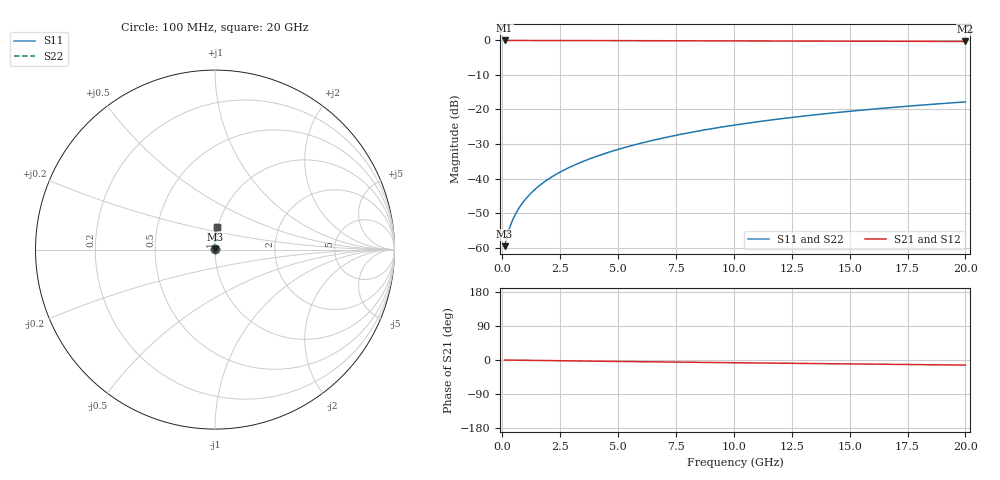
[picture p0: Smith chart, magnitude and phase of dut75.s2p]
! Touchstone file exported from HFSS 2024.1.0
!  File:  C:/UserFiles/LocalFiles/RDL_TSV_Batchsim/temp_RDL_top_75_1778682254.aedt
!  Generated:  10:26:23 PM May 13, 2026
!  Design:  RDL_top
!  Project:  temp_RDL_top_75_1778682254
!  Setup:  Setup1
!  Solution:  Sweep
! Variables:
!  dtsv = 10.80580581um
!  hbump = 3um
!  htsv = 98.44um
!  ldown = 100um
!  lrdl = 173.67um
!  p = 40
!  p1 = 49.82um
!  rhole = 1um
!  t = 450um
!  tdown = 3.915915916um
!  trdl = 3.47um
!  wdown = 15.38538539um
!  wrdl = 28.47um
# GHz S MA R 50.000000
! Terminal data exported
! Port[1] = Box2_T1
! Port[2] = Box2_T2
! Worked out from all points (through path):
!   200 points, 100 MHz to 20 GHz, reference 50 ohm
!   highest |S21| = -0.01 dB at 100 MHz (marker M1); lowest = -0.3 dB at 20 GHz (marker M2)
!   group delay of S21, straight-line fit = 1.83 ps
!   lowest |S11| = -59.6 dB at 100 MHz (marker M3), VSWR 1.00, Z = 50.1 + j0.0566 ohm
!   |S11| at or under -10 dB: start of sweep to end of sweep
!   |S22| runs from -59.6 to -17.8 dB; largest |S21 - S12| = 3e-15
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0.1  0.001048 32.6  0.9991 -0.1  0.9991 -0.1  0.001048 32.6
! Gamma 0 0 0 0
! Port Impedance 50 0 50 0
0.2  0.001439 49.5  0.999 -0.2  0.999 -0.2  0.001439 49.5
0.3  0.001869 58.3  0.999 -0.2  0.999 -0.2  0.001869 58.3
0.4  0.002303 63.9  0.9989 -0.3  0.9989 -0.3  0.002303 63.9
0.5  0.002741 68.0  0.9988 -0.4  0.9988 -0.4  0.002741 68.0
0.6  0.003185 71.1  0.9988 -0.5  0.9988 -0.5  0.003185 71.1
0.8  0.004089 75.7  0.9987 -0.6  0.9987 -0.6  0.004089 75.7
1.1  0.005483 80.1  0.9985 -0.9  0.9985 -0.9  0.005483 80.1
1.3  0.006433 82.2  0.9983 -1.0  0.9983 -1.0  0.006433 82.2
1.6  0.007884 84.5  0.9981 -1.3  0.9981 -1.3  0.007884 84.5
2.1  0.01037 87.3  0.9976 -1.7  0.9976 -1.7  0.01037 87.3
2.7  0.01345 89.5  0.9968 -2.1  0.9968 -2.1  0.01345 89.5
3.5  0.01775 91.5  0.9955 -2.7  0.9955 -2.7  0.01775 91.5
4.2  0.0217 92.6  0.9943 -3.3  0.9943 -3.3  0.0217 92.6
5  0.02641 93.5  0.9927 -3.8  0.9927 -3.8  0.02641 93.5
6.8  0.03768 94.0  0.989 -5.1  0.989 -5.1  0.03768 94.0
8.4  0.04829 93.6  0.9858 -6.2  0.9858 -6.2  0.0483 93.6
10.1  0.05993 92.6  0.9824 -7.3  0.9824 -7.3  0.05994 92.6
11.7  0.07107 91.4  0.9795 -8.3  0.9795 -8.3  0.07107 91.4
13.4  0.08297 90.0  0.9766 -9.4  0.9766 -9.4  0.08298 90.0
16.7  0.106 87.1  0.9713 -11.4  0.9713 -11.4  0.106 87.1
20  0.1287 84.3  0.9663 -13.4  0.9663 -13.4  0.1287 84.3
